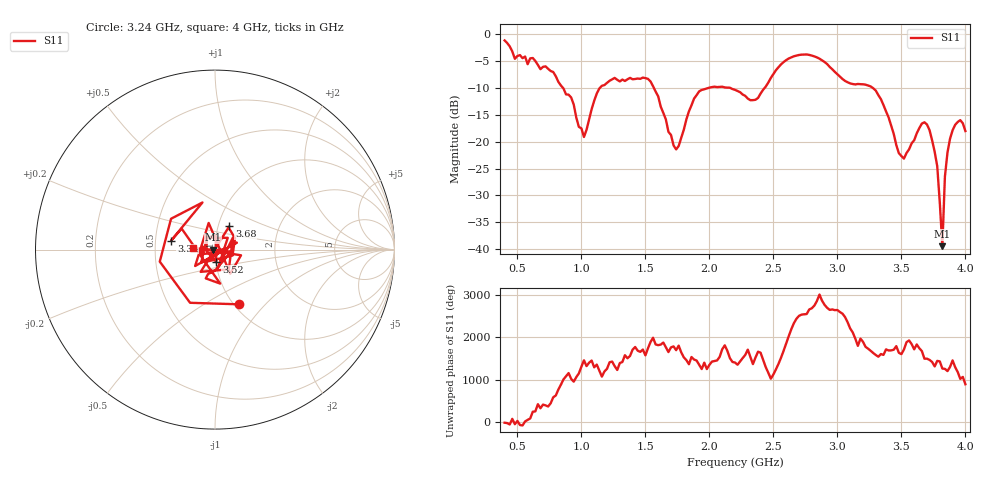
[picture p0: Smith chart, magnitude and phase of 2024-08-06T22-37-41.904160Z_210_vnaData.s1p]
!Created with skrf (http://scikit-rf.org).
# Hz S RI R 50.0
!freq ReS11 ImS11
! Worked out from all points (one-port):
!   181 points, 400 MHz to 4 GHz, reference 50 ohm
!   lowest |S11| = -39.5 dB at 3.82 GHz (marker M1), VSWR 1.02, Z = 49 - j0.0984 ohm
!   |S11| at or under -10 dB: 857 MHz to 1.143 GHz (286.4 MHz wide, 28.6 % of centre); 1.567 GHz to 1.99 GHz (423.5 MHz wide, 23.8 % of centre); 3.278 GHz to end of sweep (the widest 3 of 4)
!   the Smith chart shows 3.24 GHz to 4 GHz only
!   S11 on the Smith chart (normalised r, x): 3.24 GHz: 1.06, -0.73; 3.34 GHz: 0.61, +0.07; 3.52 GHz: 1.00, -0.14; 3.68 GHz: 1.13, +0.30; 4 GHz: 0.78, +0.02
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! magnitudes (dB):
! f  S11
! 400 MHz  -1.1
! 480 MHz  -4.5
! 620 MHz  -4.4
! 860 MHz  -10.1
! 1.02 GHz  -19.1
! 1.14 GHz  -10.1
! 1.3 GHz  -8.8
! 1.54 GHz  -8.8
! 1.72 GHz  -20.7
! 1.76 GHz  -20.8
! 1.92 GHz  -10.6
! 2.2 GHz  -10.3
! 2.36 GHz  -12.2
! 2.66 GHz  -4.1
! 2.84 GHz  -4.3
! 3.1 GHz  -9.1
! 3.24 GHz  -9.5
! 3.34 GHz  -12.1
! 3.52 GHz  -23.1
! 3.56 GHz  -21.4
! 3.68 GHz  -16.4
! 3.72 GHz  -17.8
! 3.78 GHz  -24.6
! 3.82 GHz  -39.5
! 3.84 GHz  -26.5
! 3.88 GHz  -19.4
! 3.96 GHz  -16.0
! 4 GHz  -18.0
